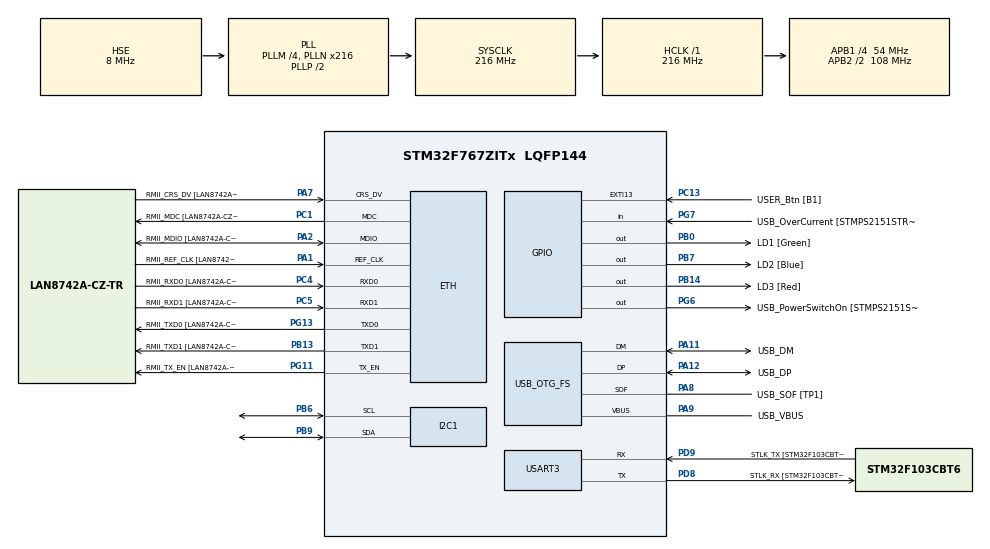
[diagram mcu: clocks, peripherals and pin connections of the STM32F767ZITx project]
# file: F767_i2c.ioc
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CORTEX_M7.default_mode_Activation=1
ETH.MediaInterface=HAL_ETH_RMII_MODE
ETH.PHY_Name=LAN8742A_PHY_ADDRESS
ETH.PHY_Value=0
ETH.PhyAddress=0
I2C1.Timing=0x20404768
Mcu.Family=STM32F7
Mcu.Name=STM32F767ZITx
Mcu.Package=LQFP144
NVIC.PriorityGroup=NVIC_PRIORITYGROUP_4
PA1.GPIO_Label=RMII_REF_CLK [LAN8742A-CZ-TR_REFCLK0]
PA1.Mode=RMII
PA1.Signal=ETH_REF_CLK
PA10.GPIO_Label=USB_ID
PA10.Signal=USB_OTG_FS_ID
PA11.GPIO_Label=USB_DM
PA11.Mode=Device_Only
PA11.Signal=USB_OTG_FS_DM
PA12.GPIO_Label=USB_DP
PA12.Mode=Device_Only
PA12.Signal=USB_OTG_FS_DP
PA13.GPIO_Label=TMS
PA13.Mode=Serial_Wire
PA13.Signal=SYS_JTMS-SWDIO
PA14.GPIO_Label=TCK
PA14.Mode=Serial_Wire
PA14.Signal=SYS_JTCK-SWCLK
PA2.GPIO_Label=RMII_MDIO [LAN8742A-CZ-TR_MDIO]
PA2.Mode=RMII
PA2.Signal=ETH_MDIO
PA7.GPIO_Label=RMII_CRS_DV [LAN8742A-CZ-TR_CRS_DV]
PA7.Mode=RMII
PA7.Signal=ETH_CRS_DV
PA8.GPIO_Label=USB_SOF [TP1]
PA8.Mode=Activate_SOF_FS
PA8.Signal=USB_OTG_FS_SOF
PA9.GPIO_Label=USB_VBUS
PA9.Mode=Activate_VBUS
PA9.Signal=USB_OTG_FS_VBUS
PB0.GPIO_Label=LD1 [Green]
PB0.Signal=GPIO_Output
PB13.GPIO_Label=RMII_TXD1 [LAN8742A-CZ-TR_TXD1]
PB13.Mode=RMII
PB13.Signal=ETH_TXD1
PB14.GPIO_Label=LD3 [Red]
PB14.Signal=GPIO_Output
PB3.GPIO_Label=SWO
PB3.Signal=SYS_JTDO-SWO
PB6.GPIO_Pu=GPIO_PULLUP
PB6.Mode=I2C
PB6.Signal=I2C1_SCL
PB7.GPIO_Label=LD2 [Blue]
PB7.Signal=GPIO_Output
PB9.GPIO_Pu=GPIO_PULLUP
PB9.Mode=I2C
PB9.Signal=I2C1_SDA
PC1.GPIO_Label=RMII_MDC [LAN8742A-CZ-TR_MDC]
PC1.Mode=RMII
PC1.Signal=ETH_MDC
PC13.GPIO_Label=USER_Btn [B1]
PC13.Signal=GPXTI13
PC14/OSC32_IN.Mode=LSE-External-Oscillator
PC14/OSC32_IN.Signal=RCC_OSC32_IN
PC15/OSC32_OUT.Mode=LSE-External-Oscillator
PC15/OSC32_OUT.Signal=RCC_OSC32_OUT
PC4.GPIO_Label=RMII_RXD0 [LAN8742A-CZ-TR_RXD0]
PC4.Mode=RMII
PC4.Signal=ETH_RXD0
PC5.GPIO_Label=RMII_RXD1 [LAN8742A-CZ-TR_RXD1]
PC5.Mode=RMII
PC5.Signal=ETH_RXD1
PD8.GPIO_Label=STLK_RX [STM32F103CBT6_PA3]
PD8.Mode=Asynchronous
PD8.Signal=USART3_TX
PD9.GPIO_Label=STLK_TX [STM32F103CBT6_PA2]
PD9.Mode=Asynchronous
PD9.Signal=USART3_RX
PG11.GPIO_Label=RMII_TX_EN [LAN8742A-CZ-TR_TXEN]
PG11.Mode=RMII
PG11.Signal=ETH_TX_EN
PG13.GPIO_Label=RMII_TXD0 [LAN8742A-CZ-TR_TXD0]
PG13.Mode=RMII
PG13.Signal=ETH_TXD0
PG6.GPIO_Label=USB_PowerSwitchOn [STMPS2151STR_EN]
PG6.Signal=GPIO_Output
PG7.GPIO_Label=USB_OverCurrent [STMPS2151STR_FAULT]
PG7.Signal=GPIO_Input
PH0/OSC_IN.GPIO_Label=MCO [STM32F103CBT6_PA8]
PH0/OSC_IN.Mode=HSE-External-Clock-Source
PH0/OSC_IN.Signal=RCC_OSC_IN
PH1/OSC_OUT.Mode=HSE-External-Clock-Source
PH1/OSC_OUT.Signal=RCC_OSC_OUT
ProjectManager.HeapSize=0x200
ProjectManager.StackSize=0x400
ProjectManager.TargetToolchain=CMake
RCC.48MHZClocksFreq_Value=24000000
RCC.AHBFreq_Value=216000000
RCC.APB1CLKDivider=RCC_HCLK_DIV4
RCC.APB1Freq_Value=54000000
RCC.APB1TimFreq_Value=108000000
RCC.APB2CLKDivider=RCC_HCLK_DIV2
RCC.APB2Freq_Value=108000000
RCC.APB2TimFreq_Value=216000000
RCC.CortexFreq_Value=216000000
RCC.HCLKFreq_Value=216000000
RCC.HSE_VALUE=8000000
RCC.HSI_VALUE=16000000
RCC.PLLM=4
RCC.PLLMUL=RCC_PLL_MUL9
RCC.PLLN=216
RCC.PLLQ=9
RCC.PRESCALERUSB=RCC_USBCLKSOURCE_PLL_DIV1_5
RCC.SYSCLKFreq_VALUE=216000000
RCC.SYSCLKSource=RCC_SYSCLKSOURCE_PLLCLK
RCC.SYSCLKSourceVirtual=RCC_SYSCLKSOURCE_PLLCLK
RCC.USBFreq_Value=48000000
RCC.VCOOutputFreq_Value=432000000
USART3.VirtualMode-Asynchronous=VM_ASYNC
USB_OTG_FS.VirtualMode=Device_Only
board=NUCLEO-F767ZI

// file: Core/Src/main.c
/* USER CODE BEGIN Header */
/**
  ******************************************************************************
  * @file           : main.c
  * @brief          : Main program body
  ******************************************************************************
  * @attention
  *
  * Copyright (c) 2026 STMicroelectronics.
  * All rights reserved.
  *
  * This software is licensed under terms that can be found in the LICENSE file
  * in the root directory of this software component.
  * If no LICENSE file comes with this software, it is provided AS-IS.
  *
  ******************************************************************************
  */
/* USER CODE END Header */
#include "main.h"
#include "string.h"
#include <stdlib.h>

/* USER CODE BEGIN Includes */
#include "xnx_i2c.h"
#include "tsc1641.h"
#include "ina228.h"
#include "mpu6050.h"
#include "mlx90614.h"
#include <stdio.h>
/* USER CODE END Includes */

/* USER CODE BEGIN PV */
xnx_i2c_scan_t i2c_scan_result;
volatile uint32_t blink_count = 0;
volatile float psu_set_v = 0;   /* last voltage written to the DAC on PA5 */
volatile float psu_measured_v = 0;  /* what the ADC reads back on PA3 */

/*
 * Four sensors share the single I2C1 bus (SCL = PB6, SDA = PB9):
 *   MPU6050   0x68  accelerometer and gyroscope
 *   MLX90614  0x5A  contact-free infrared thermometer
 *   TSC1641   0x40..0x43 (jumpers)  16-bit current and voltage monitor
 *   INA228    0x40..0x4F (jumpers)  20-bit current and voltage monitor
 *
 * Both power monitors measure the same load current: their shunts sit in
 * series in the same wire, which is what makes it possible to compare the
 * two against each other.
 */
mpu6050_t mpu;
mlx90614_t mlx;
tsc1641_t tsc;
ina228_t ina;

/* Newest reading of each sensor. These are global on purpose: the debugger
 * (Live Watch) can then show the measurements while the program runs. */
mpu6050_data_t mpu_data;
mlx90614_data_t mlx_data;
tsc1641_data_t tsc_data;
ina228_data_t ina_data;

/* Result of the start-up initialisation, kept so it can be reported again
 * later - a monitor that connects halfway would otherwise miss it. */
mpu6050_status_t mpu_st;
mlx90614_status_t mlx_st;
tsc1641_status_t tsc_st;
ina228_status_t ina_st;

/* A sensor is only polled if it answered at start-up. Skipping the silent
 * ones keeps the loop from stalling on I2C timeouts, so the rest of the
 * system keeps working when one sensor is unplugged. */
uint8_t mpu_ok = 0;
uint8_t mlx_ok = 0;
uint8_t tsc_ok = 0;
uint8_t ina_ok = 0;
/* USER CODE END PV */

#if defined ( __ICCARM__ ) /*!< IAR Compiler */
#pragma location=0x2007c000
ETH_DMADescTypeDef  DMARxDscrTab[ETH_RX_DESC_CNT]; /* Ethernet Rx DMA Descriptors */
#pragma location=0x2007c0a0
ETH_DMADescTypeDef  DMATxDscrTab[ETH_TX_DESC_CNT]; /* Ethernet Tx DMA Descriptors */

#elif defined ( __CC_ARM )  /* MDK ARM Compiler */

__attribute__((at(0x2007c000))) ETH_DMADescTypeDef  DMARxDscrTab[ETH_RX_DESC_CNT]; /* Ethernet Rx DMA Descriptors */
__attribute__((at(0x2007c0a0))) ETH_DMADescTypeDef  DMATxDscrTab[ETH_TX_DESC_CNT]; /* Ethernet Tx DMA Descriptors */

#elif defined ( __GNUC__ ) /* GNU Compiler */

ETH_DMADescTypeDef DMARxDscrTab[ETH_RX_DESC_CNT] __attribute__((section(".RxDecripSection"))); /* Ethernet Rx DMA Descriptors */
ETH_DMADescTypeDef DMATxDscrTab[ETH_TX_DESC_CNT] __attribute__((section(".TxDecripSection")));   /* Ethernet Tx DMA Descriptors */
#endif

ETH_TxPacketConfig TxConfig;

ETH_HandleTypeDef heth;

I2C_HandleTypeDef hi2c1;

UART_HandleTypeDef huart3;

PCD_HandleTypeDef hpcd_USB_OTG_FS;

void SystemClock_Config(void);
static void MPU_Config(void);
static void MX_GPIO_Init(void);
static void MX_ETH_Init(void);
static void MX_USART3_UART_Init(void);
static void MX_USB_OTG_FS_PCD_Init(void);
static void MX_I2C1_Init(void);
/* USER CODE BEGIN PFP */
void DAC_PA5_Init(void);
void DAC_PA5_Set(float volts);
void ADC_PA3_Init(void);
float ADC_PA3_Read(void);
static void print_status(void);
static void command_start(void);
static void command_run(const char *line);
static void monitors_recover(void);
/* USER CODE END PFP */

/* USER CODE BEGIN 0 */
int __io_putchar(int ch)
{
  uint8_t c = (uint8_t)ch;
  HAL_UART_Transmit(&huart3, &c, 1, HAL_MAX_DELAY);
  return ch;
}

/*
 * Commands arriving on the same serial line that carries the readings.
 *
 * Characters are collected one at a time in the UART interrupt, which
 * costs almost nothing and never makes the main loop wait. Once a whole
 * line has arrived it is handed over to the main loop: acting on it from
 * inside an interrupt would be poor practice, since printing a reply
 * takes far longer than an interrupt should ever last.
 *
 * Understood commands:
 *   set <volts>   set the DAC output on PA5, e.g. "set 1.5"
 *   status        report the sensors again
 *   clobber       wipe the TSC1641 calibration on purpose, to prove that
 *                 the automatic recovery really works
 */
#define COMMAND_MAX_LENGTH 32

static char command_line[COMMAND_MAX_LENGTH];
static volatile uint8_t command_length = 0;
static volatile uint8_t command_complete = 0;
static uint8_t command_rx_byte = 0;

static void command_start(void)
{
  HAL_NVIC_SetPriority(USART3_IRQn, 5, 0);
  HAL_NVIC_EnableIRQ(USART3_IRQn);
  HAL_UART_Receive_IT(&huart3, &command_rx_byte, 1);
}

void HAL_UART_RxCpltCallback(UART_HandleTypeDef *huart)
{
  if (huart->Instance != USART3) {
    return;
  }

  /* Ignore anything new until the main loop has taken the last line. */
  if (!command_complete) {
    if ((command_rx_byte == '\r') || (command_rx_byte == '\n')) {
      if (command_length > 0) {
        command_line[command_length] = '\0';
        command_complete = 1;
      }
    } else if (command_length < (COMMAND_MAX_LENGTH - 1)) {
      command_line[command_length++] = (char)command_rx_byte;
    }
  }

  HAL_UART_Receive_IT(&huart3, &command_rx_byte, 1);
}

static void command_run(const char *line)
{
  if (strncmp(line, "set ", 4) == 0) {
    /* strtof avoids pulling the floating point version of scanf in. */
    DAC_PA5_Set(strtof(line + 4, NULL));
    printf("OK set[V]=%.3f\r\n", psu_set_v);
  } else if (strcmp(line, "status") == 0) {
    print_status();
  } else if (strcmp(line, "clobber") == 0) {
    /* Exactly what a brown-out does to the chip: clears the shunt value. */
    xnx_i2c_write_reg16(&hi2c1, tsc.address, TSC1641_REG_RSHUNT, 0);
    printf("TSC1641 shunt register wiped, recovery should notice\r\n");
  } else {
    printf("ERR unknown command: %s\r\n", line);
  }
}

/*
 * Put a power monitor back on its feet if it lost its settings.
 *
 * A sensor whose supply dips for a moment restarts with empty registers.
 * The microcontroller keeps running and never notices, so from then on the
 * chip answers politely but reports a current of exactly zero, because
 * without the shunt value it has no way to convert its measurement. This
 * check reads the calibration back and reprograms the chip if it no longer
 * matches, which turns a silent wrong reading into a short gap.
 */
static void monitors_recover(void)
{
  if (tsc_ok && (tsc1641_check(&tsc) != TSC1641_STATUS_OK)) {
    tsc1641_config_t cfg;
    tsc1641_get_default_config(&cfg);
    tsc_st = tsc1641_init(&tsc, &hi2c1, tsc.address, &cfg);
    tsc_ok = (tsc_st == TSC1641_STATUS_OK);
    printf("TSC1641 lost its settings, reconfigured: %s\r\n",
           tsc1641_status_string(tsc_st));
  }

  if (ina_ok && (ina228_check(&ina) != INA228_STATUS_OK)) {
    ina228_config_t cfg;
    ina228_get_default_config(&cfg);
    ina_st = ina228_init(&ina, &hi2c1, ina.address, &cfg);
    ina_ok = (ina_st == INA228_STATUS_OK);
    printf("INA228 lost its settings, reconfigured: %s\r\n",
           ina228_status_string(ina_st));
  }
}

/* What's on the bus and did the sensors come up. Repeated every few seconds
 * so a monitor or dashboard that attaches later still sees the state. */
static void print_status(void)
{
  printf("I2C scan: %u device(s):", i2c_scan_result.count);
  for (uint8_t i = 0; i < i2c_scan_result.count; i++) {
    printf(" 0x%02X", i2c_scan_result.addr[i]);
  }
  printf("\r\n");
  printf("MPU6050 init: %s\r\n", mpu6050_status_string(mpu_st));
  printf("MLX90614 init: %s, ID=0x%04X\r\n", mlx90614_status_string(mlx_st), mlx.id_word);
  printf("TSC1641 init: %s, addr=0x%02X, DIE_ID=0x%04X\r\n",
         tsc1641_status_string(tsc_st), tsc.address, tsc.die_id);
  printf("INA228 init: %s, addr=0x%02X, ID=0x%04X\r\n",
         ina228_status_string(ina_st), ina.address, ina.device_id);
}

/* Set up DAC channel 2 on PA5 by hand (the HAL DAC module isn't generated).
 * The output buffer stays on, so the pin can drive a control input directly. */
void DAC_PA5_Init(void)
{
  GPIO_InitTypeDef GPIO_InitStruct = {0};

  GPIO_InitStruct.Pin = GPIO_PIN_5;
  GPIO_InitStruct.Mode = GPIO_MODE_ANALOG;
  GPIO_InitStruct.Pull = GPIO_NOPULL;
  HAL_GPIO_Init(GPIOA, &GPIO_InitStruct);

  __HAL_RCC_DAC_CLK_ENABLE();

  DAC->DHR12R2 = 0;          /* start at 0 V */
  DAC->CR |= DAC_CR_EN2;     /* enable channel 2 = PA5 */
}

/*
 * Analog input on PA3 (Arduino header A0), read with ADC1 channel 3.
 *
 * Set up by hand for the same reason as the DAC: the HAL ADC module is
 * not generated for this project. With a jumper from PA5 to PA3 the board
 * measures its own DAC output, which is the only way to see on screen
 * that the analog output really does what it was told - and it is the
 * first channel of the measuring chain the project needs anyway.
 */
void ADC_PA3_Init(void)
{
  GPIO_InitTypeDef GPIO_InitStruct = {0};

  GPIO_InitStruct.Pin = GPIO_PIN_3;
  GPIO_InitStruct.Mode = GPIO_MODE_ANALOG;
  GPIO_InitStruct.Pull = GPIO_NOPULL;
  HAL_GPIO_Init(GPIOA, &GPIO_InitStruct);

  __HAL_RCC_ADC1_CLK_ENABLE();

  /* The ADC may not run faster than 36 MHz, and APB2 is at 108 MHz here,
   * so divide it by four. */
  ADC->CCR = (ADC->CCR & ~ADC_CCR_ADCPRE) | ADC_CCR_ADCPRE_0;

  /* Longest sample time (480 cycles) on channel 3: it costs a few
   * microseconds and lets the internal capacitor charge fully even from a
   * source with high resistance, which keeps the reading honest. */
  ADC1->SMPR2 = 7UL << (3U * 3U);

  ADC1->SQR1 = 0;   /* one conversion in the sequence */
  ADC1->SQR3 = 3;   /* and that conversion reads channel 3 */

  ADC1->CR1 = 0;    /* 12-bit resolution, no interrupts */
  ADC1->CR2 = ADC_CR2_ADON;
  HAL_Delay(1);     /* let the ADC settle after power-up */
}

/* Voltage on PA3, averaged over a few conversions to calm the noise. */
float ADC_PA3_Read(void)
{
  const uint8_t samples = 16;
  uint32_t sum = 0;

  for (uint8_t i = 0; i < samples; i++) {
    ADC1->SR &= ~ADC_SR_EOC;
    ADC1->CR2 |= ADC_CR2_SWSTART;
    while ((ADC1->SR & ADC_SR_EOC) == 0) {
      /* a single conversion takes a few microseconds */
    }
    sum += ADC1->DR;
  }

  /* 12 bits over the 3.3 V reference: 4095 counts = 3.3 V. */
  return ((float)sum / samples) * 3.3f / 4095.0f;
}

/* Set the PA5 output voltage, 0..3.3 V (assumes VDDA = 3.3 V).
 * The buffered output can't reach closer than ~0.2 V to the rails. */
void DAC_PA5_Set(float volts)
{
  if (volts < 0)
    volts = 0;
  if (volts > 3.3f)
    volts = 3.3f;
  psu_set_v = volts;
  DAC->DHR12R2 = (uint16_t)(volts / 3.3f * 4095.0f + 0.5f);
}

/* USER CODE END 0 */

int main(void)
{

  /* MPU Configuration--------------------------------------------------------*/
  MPU_Config();

  /* MCU Configuration--------------------------------------------------------*/

  /* Reset of all peripherals, Initializes the Flash interface and the Systick. */
  HAL_Init();

  /* Configure the system clock */
  SystemClock_Config();

  /* Initialize all configured peripherals */
  MX_GPIO_Init();
  MX_ETH_Init();
  MX_USART3_UART_Init();
  MX_USB_OTG_FS_PCD_Init();
  MX_I2C1_Init();
  /* USER CODE BEGIN 2 */
  HAL_Delay(300); /* let bus devices finish their own power-up before polling */
  xnx_i2c_scan(&hi2c1, &i2c_scan_result);

  DAC_PA5_Init();
  DAC_PA5_Set(0);
  ADC_PA3_Init();

  /*
   * Finding the two power monitors.
   *
   * Both of them live in the 0x40..0x4F address range and both leave the
   * factory listening on 0x40, so the address each one ends up with depends
   * on how its jumpers are set. Instead of hard-coding that, every address
   * the bus scan reported is offered to both drivers in turn. Each driver
   * reads the chip's identification register before it writes anything, so
   * only the matching chip ever accepts the address and no driver can
   * misconfigure a stranger. The jumpers can then be set to anything.
   */
  ina228_config_t ina_cfg;
  ina228_get_default_config(&ina_cfg);

  tsc1641_config_t tsc_cfg;
  tsc1641_get_default_config(&tsc_cfg);

  /* Assume missing until a chip identifies itself. */
  ina_st = INA228_STATUS_DEVICE_NOT_FOUND;
  tsc_st = TSC1641_STATUS_DEVICE_NOT_FOUND;

  for (uint8_t i = 0; i < i2c_scan_result.count; i++) {
    uint8_t addr = i2c_scan_result.addr[i];

    if ((addr < 0x40) || (addr > 0x4F)) {
      continue;   /* outside the power-monitor range, leave it alone */
    }

    if (!ina_ok) {
      ina_st = ina228_init(&ina, &hi2c1, addr, &ina_cfg);
      ina_ok = (ina_st == INA228_STATUS_OK);
      if (ina_ok) {
        continue;   /* address taken, move on to the next one */
      }
    }

    if (!tsc_ok) {
      tsc_st = tsc1641_init(&tsc, &hi2c1, addr, &tsc_cfg);
      tsc_ok = (tsc_st == TSC1641_STATUS_OK);
    }
  }

  mpu6050_config_t mpu_cfg;
  mpu6050_get_default_config(&mpu_cfg);
  mpu_st = mpu6050_init(&mpu, &hi2c1, MPU6050_ADDRESS_AD0_LOW, &mpu_cfg);
  mpu_ok = (mpu_st == MPU6050_STATUS_OK);

  mlx_st = mlx90614_init(&mlx, &hi2c1, MLX90614_DEFAULT_ADDRESS);
  mlx_ok = (mlx_st == MLX90614_STATUS_OK);

  print_status();
  if (i2c_scan_result.count == 0) {
    printf("Nothing ACKed. Check: common GND? VDD? SCL=PB6/SDA=PB9 not swapped?\r\n");
  }

  command_start();
  printf("Commands: 'set <volts>' (DAC on PA5), 'status'\r\n");
  /* USER CODE END 2 */

  /*
   * Main loop.
   *
   * Each group of sensors is read at its own rate, and the loop never
   * blocks: instead of waiting with HAL_Delay it compares the millisecond
   * counter against the time each group was last serviced. Motion needs a
   * fast rate to be useful, while temperature and current change slowly,
   * so reading everything at 100 ms would only flood the serial link.
   */
  /* USER CODE BEGIN WHILE */
  uint32_t t_mpu = 0, t_slow = 0, t_status = 0;  /* last service time, ms */
  while (1)
  {
    /* USER CODE END WHILE */

    /* USER CODE BEGIN 3 */
    uint32_t now = HAL_GetTick();

    /* A command finished arriving in the interrupt: act on it here. */
    if (command_complete) {
      command_run(command_line);
      command_length = 0;
      command_complete = 0;
    }

    /* Motion, 10 times a second. */
    if (mpu_ok && (now - t_mpu >= 100)) {
      t_mpu = now;
      if (mpu6050_read(&mpu, &mpu_data) == MPU6050_STATUS_OK) {
        /* Sent as whole milli-units (mg, mdps) so the line stays short
         * and the receiver never has to parse a decimal point. */
        printf("MPU A[mg]=%ld,%ld,%ld G[mdps]=%ld,%ld,%ld T[cC]=%ld\r\n",
               (long)(mpu_data.accel_x_g * 1000), (long)(mpu_data.accel_y_g * 1000),
               (long)(mpu_data.accel_z_g * 1000),
               (long)(mpu_data.gyro_x_dps * 1000), (long)(mpu_data.gyro_y_dps * 1000),
               (long)(mpu_data.gyro_z_dps * 1000),
               (long)(mpu_data.temperature_c * 100));
      }
    }

    /* Temperatures, load current and the heartbeat LED, twice a second. */
    if (now - t_slow >= 500) {
      t_slow = now;
      HAL_GPIO_TogglePin(GPIOB, LD1_Pin | LD2_Pin | LD3_Pin);
      blink_count++;

      if (mlx_ok) {
        if (mlx90614_read(&mlx, &mlx_data) == MLX90614_STATUS_OK) {
          printf("MLX Ta[cC]=%ld To[cC]=%ld\r\n",
                 (long)mlx_data.ambient_centi_c, (long)mlx_data.object_centi_c);
        }
      }

      /*
       * Both monitors report in amps, volts and watts. Six decimals are
       * needed because one step of the INA228 is only 19 uA, and the
       * shunt voltage is printed as well: it is the honest answer to
       * "is any current flowing at all", since it is what the chip
       * physically measures before any calibration is applied.
       */
      if (tsc_ok) {
        if (tsc1641_read(&tsc, &tsc_data) == TSC1641_STATUS_OK) {
          printf("TSC I[A]=%.6f U[V]=%.3f P[W]=%.3f Vsh[mV]=%.3f\r\n",
                 tsc_data.current_a, tsc_data.load_voltage_v,
                 tsc_data.power_w, tsc_data.shunt_voltage_mv);
        }
      }

      if (ina_ok) {
        if (ina228_read(&ina, &ina_data) == INA228_STATUS_OK) {
          printf("INA I[A]=%.6f U[V]=%.3f P[W]=%.3f T[C]=%.2f Vsh[mV]=%.3f\r\n",
                 ina_data.current_a, ina_data.bus_voltage_v, ina_data.power_w,
                 ina_data.die_temperature_c, ina_data.shunt_voltage_mv);
        }
      }

      psu_measured_v = ADC_PA3_Read();
      printf("PSU set[V]=%.3f meas[V]=%.3f\r\n", psu_set_v, psu_measured_v);
    }

    /* Remind whoever is listening what the bus state is, and make sure
     * the power monitors still hold their calibration. */
    if (now - t_status >= 5000) {
      t_status = now;
      monitors_recover();
      print_status();
    }
  }
  /* USER CODE END 3 */
}

void SystemClock_Config(void)
{
  RCC_OscInitTypeDef RCC_OscInitStruct = {0};
  RCC_ClkInitTypeDef RCC_ClkInitStruct = {0};

  /** Configure LSE Drive Capability
  */
  HAL_PWR_EnableBkUpAccess();

  /** Configure the main internal regulator output voltage
  */
  __HAL_RCC_PWR_CLK_ENABLE();
  __HAL_PWR_VOLTAGESCALING_CONFIG(PWR_REGULATOR_VOLTAGE_SCALE1);

  /** Initializes the RCC Oscillators according to the specified parameters
  * in the RCC_OscInitTypeDef structure.
  */
  RCC_OscInitStruct.OscillatorType = RCC_OSCILLATORTYPE_HSE;
  RCC_OscInitStruct.HSEState = RCC_HSE_BYPASS;
  RCC_OscInitStruct.PLL.PLLState = RCC_PLL_ON;
  RCC_OscInitStruct.PLL.PLLSource = RCC_PLLSOURCE_HSE;
  RCC_OscInitStruct.PLL.PLLM = 4;
  RCC_OscInitStruct.PLL.PLLN = 216;
  RCC_OscInitStruct.PLL.PLLP = RCC_PLLP_DIV2;
  RCC_OscInitStruct.PLL.PLLQ = 9;
  RCC_OscInitStruct.PLL.PLLR = 2;
  if (HAL_RCC_OscConfig(&RCC_OscInitStruct) != HAL_OK)
  {
    Error_Handler();
  }

  /** Activate the Over-Drive mode
  */
  if (HAL_PWREx_EnableOverDrive() != HAL_OK)
  {
    Error_Handler();
  }

  /** Initializes the CPU, AHB and APB buses clocks
  */
  RCC_ClkInitStruct.ClockType = RCC_CLOCKTYPE_HCLK|RCC_CLOCKTYPE_SYSCLK
                              |RCC_CLOCKTYPE_PCLK1|RCC_CLOCKTYPE_PCLK2;
  RCC_ClkInitStruct.SYSCLKSource = RCC_SYSCLKSOURCE_PLLCLK;
  RCC_ClkInitStruct.AHBCLKDivider = RCC_SYSCLK_DIV1;
  RCC_ClkInitStruct.APB1CLKDivider = RCC_HCLK_DIV4;
  RCC_ClkInitStruct.APB2CLKDivider = RCC_HCLK_DIV2;

  if (HAL_RCC_ClockConfig(&RCC_ClkInitStruct, FLASH_LATENCY_7) != HAL_OK)
  {
    Error_Handler();
  }
}

static void MX_ETH_Init(void)
{

   static uint8_t MACAddr[6];

  heth.Instance = ETH;
  MACAddr[0] = 0x00;
  MACAddr[1] = 0x80;
  MACAddr[2] = 0xE1;
  MACAddr[3] = 0x00;
  MACAddr[4] = 0x00;
  MACAddr[5] = 0x00;
  heth.Init.MACAddr = &MACAddr[0];
  heth.Init.MediaInterface = HAL_ETH_RMII_MODE;
  heth.Init.TxDesc = DMATxDscrTab;
  heth.Init.RxDesc = DMARxDscrTab;
  heth.Init.RxBuffLen = 1524;

  if (HAL_ETH_Init(&heth) != HAL_OK)
  {
    Error_Handler();
  }

  memset(&TxConfig, 0 , sizeof(ETH_TxPacketConfig));
  TxConfig.Attributes = ETH_TX_PACKETS_FEATURES_CSUM | ETH_TX_PACKETS_FEATURES_CRCPAD;
  TxConfig.ChecksumCtrl = ETH_CHECKSUM_IPHDR_PAYLOAD_INSERT_PHDR_CALC;
  TxConfig.CRCPadCtrl = ETH_CRC_PAD_INSERT;

}

static void MX_I2C1_Init(void)
{

  hi2c1.Instance = I2C1;
  hi2c1.Init.Timing = 0x20404768;
  hi2c1.Init.OwnAddress1 = 0;
  hi2c1.Init.AddressingMode = I2C_ADDRESSINGMODE_7BIT;
  hi2c1.Init.DualAddressMode = I2C_DUALADDRESS_DISABLE;
  hi2c1.Init.OwnAddress2 = 0;
  hi2c1.Init.OwnAddress2Masks = I2C_OA2_NOMASK;
  hi2c1.Init.GeneralCallMode = I2C_GENERALCALL_DISABLE;
  hi2c1.Init.NoStretchMode = I2C_NOSTRETCH_DISABLE;
  if (HAL_I2C_Init(&hi2c1) != HAL_OK)
  {
    Error_Handler();
  }

  /** Configure Analogue filter
  */
  if (HAL_I2CEx_ConfigAnalogFilter(&hi2c1, I2C_ANALOGFILTER_ENABLE) != HAL_OK)
  {
    Error_Handler();
  }

  /** Configure Digital filter
  */
  if (HAL_I2CEx_ConfigDigitalFilter(&hi2c1, 0) != HAL_OK)
  {
    Error_Handler();
  }

}

static void MX_USART3_UART_Init(void)
{

  huart3.Instance = USART3;
  huart3.Init.BaudRate = 115200;
  huart3.Init.WordLength = UART_WORDLENGTH_8B;
  huart3.Init.StopBits = UART_STOPBITS_1;
  huart3.Init.Parity = UART_PARITY_NONE;
  huart3.Init.Mode = UART_MODE_TX_RX;
  huart3.Init.HwFlowCtl = UART_HWCONTROL_NONE;
  huart3.Init.OverSampling = UART_OVERSAMPLING_16;
  huart3.Init.OneBitSampling = UART_ONE_BIT_SAMPLE_DISABLE;
  huart3.AdvancedInit.AdvFeatureInit = UART_ADVFEATURE_NO_INIT;
  if (HAL_UART_Init(&huart3) != HAL_OK)
  {
    Error_Handler();
  }

}

static void MX_USB_OTG_FS_PCD_Init(void)
{

  hpcd_USB_OTG_FS.Instance = USB_OTG_FS;
  hpcd_USB_OTG_FS.Init.dev_endpoints = 6;
  hpcd_USB_OTG_FS.Init.speed = PCD_SPEED_FULL;
  hpcd_USB_OTG_FS.Init.dma_enable = DISABLE;
  hpcd_USB_OTG_FS.Init.phy_itface = PCD_PHY_EMBEDDED;
  hpcd_USB_OTG_FS.Init.Sof_enable = ENABLE;
  hpcd_USB_OTG_FS.Init.low_power_enable = DISABLE;
  hpcd_USB_OTG_FS.Init.lpm_enable = DISABLE;
  hpcd_USB_OTG_FS.Init.vbus_sensing_enable = ENABLE;
  hpcd_USB_OTG_FS.Init.use_dedicated_ep1 = DISABLE;
  if (HAL_PCD_Init(&hpcd_USB_OTG_FS) != HAL_OK)
  {
    Error_Handler();
  }

}

static void MX_GPIO_Init(void)
{
  GPIO_InitTypeDef GPIO_InitStruct = {0};

  /* GPIO Ports Clock Enable */
  __HAL_RCC_GPIOC_CLK_ENABLE();
  __HAL_RCC_GPIOH_CLK_ENABLE();
  __HAL_RCC_GPIOA_CLK_ENABLE();
  __HAL_RCC_GPIOB_CLK_ENABLE();
  __HAL_RCC_GPIOD_CLK_ENABLE();
  __HAL_RCC_GPIOG_CLK_ENABLE();

  /*Configure GPIO pin Output Level */
  HAL_GPIO_WritePin(GPIOB, LD1_Pin|LD3_Pin|LD2_Pin, GPIO_PIN_RESET);

  /*Configure GPIO pin Output Level */
  HAL_GPIO_WritePin(USB_PowerSwitchOn_GPIO_Port, USB_PowerSwitchOn_Pin, GPIO_PIN_RESET);

  /*Configure GPIO pin : USER_Btn_Pin */
  GPIO_InitStruct.Pin = USER_Btn_Pin;
  GPIO_InitStruct.Mode = GPIO_MODE_IT_RISING;
  GPIO_InitStruct.Pull = GPIO_NOPULL;
  HAL_GPIO_Init(USER_Btn_GPIO_Port, &GPIO_InitStruct);

  /*Configure GPIO pins : LD1_Pin LD3_Pin LD2_Pin */
  GPIO_InitStruct.Pin = LD1_Pin|LD3_Pin|LD2_Pin;
  GPIO_InitStruct.Mode = GPIO_MODE_OUTPUT_PP;
  GPIO_InitStruct.Pull = GPIO_NOPULL;
  GPIO_InitStruct.Speed = GPIO_SPEED_FREQ_LOW;
  HAL_GPIO_Init(GPIOB, &GPIO_InitStruct);

  /*Configure GPIO pin : USB_PowerSwitchOn_Pin */
  GPIO_InitStruct.Pin = USB_PowerSwitchOn_Pin;
  GPIO_InitStruct.Mode = GPIO_MODE_OUTPUT_PP;
  GPIO_InitStruct.Pull = GPIO_NOPULL;
  GPIO_InitStruct.Speed = GPIO_SPEED_FREQ_LOW;
  HAL_GPIO_Init(USB_PowerSwitchOn_GPIO_Port, &GPIO_InitStruct);

  /*Configure GPIO pin : USB_OverCurrent_Pin */
  GPIO_InitStruct.Pin = USB_OverCurrent_Pin;
  GPIO_InitStruct.Mode = GPIO_MODE_INPUT;
  GPIO_InitStruct.Pull = GPIO_NOPULL;
  HAL_GPIO_Init(USB_OverCurrent_GPIO_Port, &GPIO_InitStruct);

}

 /* MPU Configuration */

void MPU_Config(void)
{
  MPU_Region_InitTypeDef MPU_InitStruct = {0};

  /* Disables the MPU */
  HAL_MPU_Disable();

  /** Initializes and configures the Region and the memory to be protected
  */
  MPU_InitStruct.Enable = MPU_REGION_ENABLE;
  MPU_InitStruct.Number = MPU_REGION_NUMBER0;
  MPU_InitStruct.BaseAddress = 0x0;
  MPU_InitStruct.Size = MPU_REGION_SIZE_4GB;
  MPU_InitStruct.SubRegionDisable = 0x87;
  MPU_InitStruct.TypeExtField = MPU_TEX_LEVEL0;
  MPU_InitStruct.AccessPermission = MPU_REGION_NO_ACCESS;
  MPU_InitStruct.DisableExec = MPU_INSTRUCTION_ACCESS_DISABLE;
  MPU_InitStruct.IsShareable = MPU_ACCESS_SHAREABLE;
  MPU_InitStruct.IsCacheable = MPU_ACCESS_NOT_CACHEABLE;
  MPU_InitStruct.IsBufferable = MPU_ACCESS_NOT_BUFFERABLE;

  HAL_MPU_ConfigRegion(&MPU_InitStruct);
  /* Enables the MPU */
  HAL_MPU_Enable(MPU_PRIVILEGED_DEFAULT);

}

void Error_Handler(void)
{
  __disable_irq();
  while (1)
  {
  }
}
